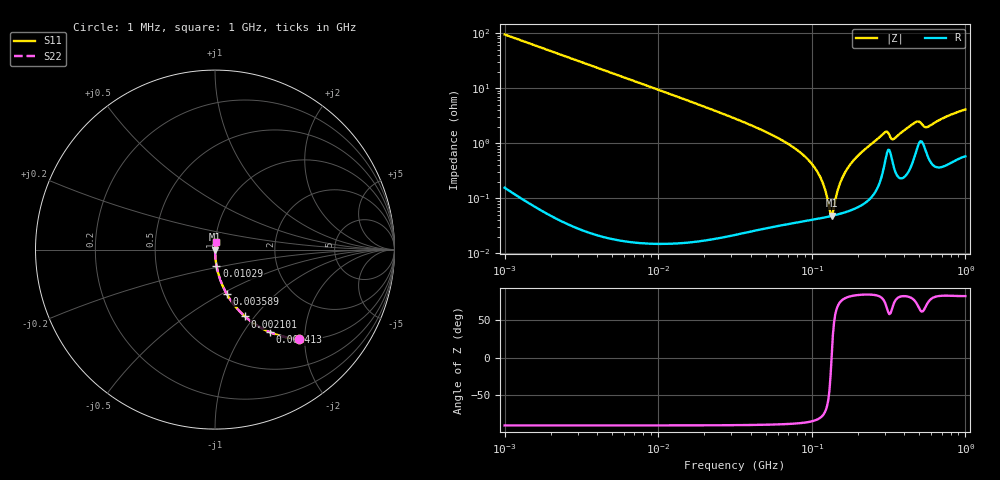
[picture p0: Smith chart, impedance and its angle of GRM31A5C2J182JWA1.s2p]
!Murata Part Number: GRM31A5C2J182JWA1
!These Parameters are Measured in Series Mode Connection
!Data Generated on Mar 30, 2021
!  o--ll--o
!Port1  Port2
!  o------o
!Operation Temp=25[degC], DC Bias Voltage=0[V]
!Freq. Start=1000[kHz] Stop=1000[MHz] 401[Steps]
# Hz S RI R 50
!Freq.(Hz) S11(Real) S11(Imag) S21(Real) S21(Imag) S12(Real) S12(Imag) S22(Real) S22(Imag)
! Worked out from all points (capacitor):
!   401 points, 1 MHz to 1 GHz, reference 50 ohm
!   read as one part in series: C = 1.69 nF near 1.035 MHz
!   lowest |Z| = 48.2 mohm at 134.9 MHz (marker M1)
!   series resonance near 134.5 MHz, so ESL is about 830 pH
!   S11 on the Smith chart (normalised r, x): 1 MHz: 1.00, -1.88; 1.413 MHz: 1.00, -1.33; 2.101 MHz: 1.00, -0.90; 3.589 MHz: 1.00, -0.52; 10.29 MHz: 1.00, -0.18; 1 GHz: 1.01, +0.08
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1000000  0.4697 -0.4983  0.5303 0.4983  0.5303 0.4983  0.4697 -0.4983
1412538  0.3076 -0.4609  0.6924 0.4609  0.6924 0.4609  0.3076 -0.4609
2101358  0.1673 -0.3727  0.8327 0.3727  0.8327 0.3727  0.1673 -0.3727
3180534  0.0806 -0.2718  0.9194 0.2718  0.9194 0.2718  0.0806 -0.2718
3589219  0.0644 -0.2451  0.9356 0.2451  0.9356 0.2451  0.0644 -0.2451
1.01158e7  0.00862 -0.0917  0.9914 0.0917  0.9914 0.0917  0.00862 -0.0917
1.0292e7  0.00833 -0.0901  0.9917 0.0901  0.9917 0.0901  0.00833 -0.0901
3.162278e7  0.001 -0.028  0.999 0.028  0.999 0.028  0.001 -0.028
6.645077e7  0.000445 -0.0107  0.9996 0.0107  0.9996 0.0107  0.000445 -0.0107
1.005773e8  0.000424 -0.00412  0.9996 0.00412  0.9996 0.00412  0.000424 -0.00412
1.154782e8  0.000442 -0.00214  0.9996 0.00214  0.9996 0.00214  0.000442 -0.00214
1.216186e8  0.000452 -0.00141  0.9995 0.00141  0.9995 0.00141  0.000452 -0.00141
1.303167e8  0.000469 -0.000442  0.9995 0.000442  0.9995 0.000442  0.000469 -0.000442
1.348963e8  0.000479 4.39e-05  0.9995 -4.39e-05  0.9995 -4.39e-05  0.000479 4.39e-05
1.548817e8  0.000533 0.00201  0.9995 -0.00201  0.9995 -0.00201  0.000533 0.00201
1.778279e8  0.000616 0.00405  0.9994 -0.00405  0.9994 -0.00405  0.000616 0.00405
2.93427e8  0.00367 0.0145  0.9963 -0.0145  0.9963 -0.0145  0.00367 0.0145
3.198895e8  0.00759 0.0118  0.9924 -0.0118  0.9924 -0.0118  0.00759 0.0118
3.427678e8  0.00372 0.0114  0.9963 -0.0114  0.9963 -0.0114  0.00372 0.0114
4.758828e8  0.00726 0.0229  0.9927 -0.0229  0.9927 -0.0229  0.00726 0.0229
5.655878e8  0.00632 0.0185  0.9937 -0.0185  0.9937 -0.0185  0.00632 0.0185
1e9  0.00737 0.0402  0.9926 -0.0402  0.9926 -0.0402  0.00737 0.0402
